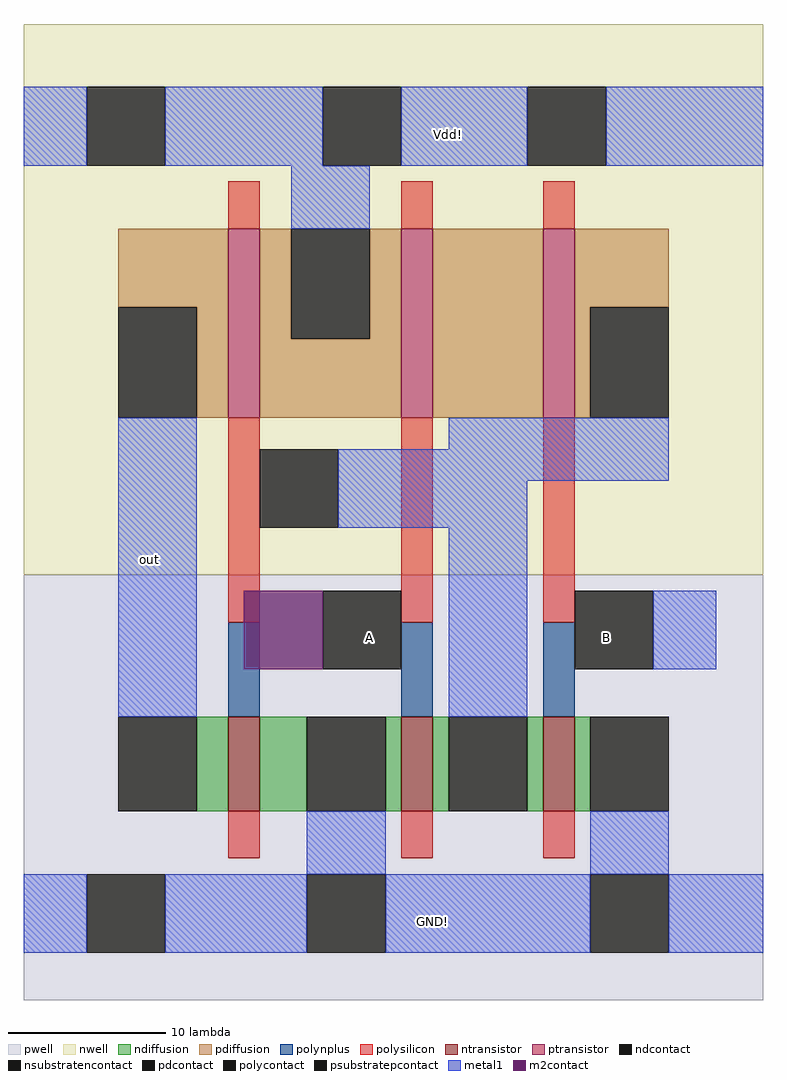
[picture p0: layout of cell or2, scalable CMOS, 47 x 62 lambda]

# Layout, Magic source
magic
tech scmos
<< nwell >>
rect -11 27 36 62
<< pwell >>
rect -11 0 36 27
<< ntransistor >>
rect 2 12 4 18
rect 13 12 15 18
rect 22 12 24 18
<< ptransistor >>
rect 2 37 4 49
rect 13 37 15 49
rect 22 37 24 49
<< ndiffusion >>
rect 0 12 2 18
rect 4 12 7 18
rect 12 12 13 18
rect 15 12 16 18
rect 21 12 22 18
rect 24 12 25 18
<< pdiffusion >>
rect -5 44 2 49
rect 0 37 2 44
rect 4 42 6 49
rect 11 42 13 49
rect 4 37 13 42
rect 15 37 22 49
rect 24 44 30 49
rect 24 37 25 44
<< ndcontact >>
rect -5 12 0 18
rect 7 12 12 18
rect 16 12 21 18
rect 25 12 30 18
<< pdcontact >>
rect -5 37 0 44
rect 6 42 11 49
rect 25 37 30 44
<< psubstratepcontact >>
rect -7 3 -2 8
rect 7 3 12 8
rect 25 3 30 8
<< nsubstratencontact >>
rect -7 53 -2 58
rect 8 53 13 58
rect 21 53 26 58
<< polysilicon >>
rect 2 49 4 52
rect 13 49 15 52
rect 22 49 24 52
rect 2 24 4 37
rect 13 24 15 37
rect 22 24 24 37
rect 2 9 4 12
rect 13 9 15 12
rect 22 9 24 12
<< polycontact >>
rect 4 30 9 35
rect 8 21 13 26
rect 24 21 29 26
<< polynplus >>
rect 2 18 4 24
rect 13 18 15 24
rect 22 18 24 24
<< metal1 >>
rect -11 53 -7 58
rect -2 53 8 58
rect 13 53 21 58
rect 26 53 36 58
rect 6 49 11 53
rect -5 18 0 37
rect 16 35 30 37
rect 9 33 30 35
rect 9 30 21 33
rect 16 18 21 30
rect 29 21 33 26
rect 7 8 12 12
rect 25 8 30 12
rect -11 3 -7 8
rect -2 3 7 8
rect 12 3 25 8
rect 30 3 36 8
<< m2contact >>
rect 3 21 8 26
<< labels >>
rlabel metal1 15 5 15 5 1 GND!
rlabel polycontact 26 23 26 23 1 B
rlabel polycontact 11 23 11 23 1 A
rlabel metal1 16 55 16 55 1 Vdd!
rlabel metal1 -3 28 -3 28 1 out
<< end >>
